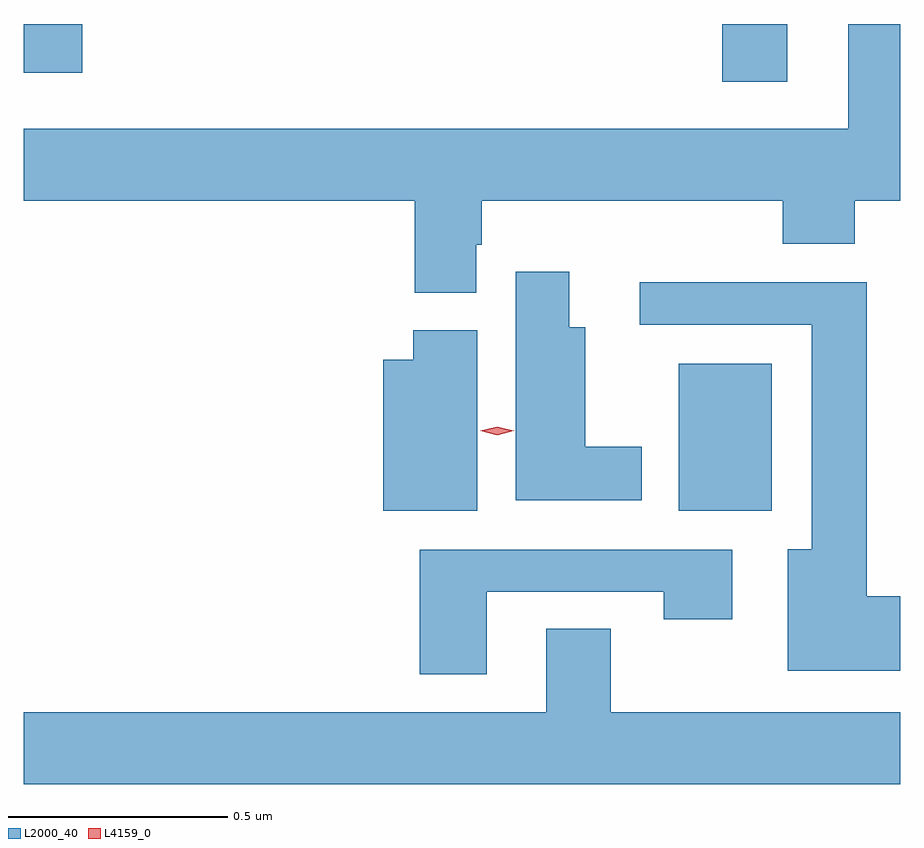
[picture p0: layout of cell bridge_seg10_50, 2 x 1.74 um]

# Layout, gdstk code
import gdstk
lib = gdstk.Library(unit=1e-6, precision=1e-09)
def R(c, l, rs):  # rectangles x0, y0, x1, y1
    for r in rs: c.add(gdstk.rectangle(r[:2], r[2:], *l))
def P(c, l, *ps):  # polygons
    for p in ps: c.add(gdstk.Polygon(p, *l))
L2000_40 = (2000, 40)
L4159_0 = (4159, 0)

bridge_seg10_50 = lib.new_cell('bridge_seg10_50')
R(bridge_seg10_50, L2000_40, [(870.806,1315.592,871.018,1315.927), (870.905,1316.571,871.054,1316.703), (869.311,1316.592,869.444,1316.703)])
P(bridge_seg10_50, L2000_40, [(870.343,1316.199),(870.356,1316.199),(870.356,1316.3),(871.043,1316.3),(871.043,1316.201),(871.208,1316.201),(871.208,1316.3),(871.311,1316.3),(871.311,1316.703),(871.193,1316.703),(871.193,1316.464),(869.311,1316.464),(869.311,1316.3),(870.203,1316.3),(870.203,1316.089),(870.343,1316.089)],
  [(870.721,1315.738),(870.592,1315.738),(870.592,1316.011),(870.556,1316.011),(870.556,1316.137),(870.434,1316.137),(870.434,1315.616),(870.721,1315.616)],
  [(871.311,1315.397),(871.235,1315.397),(871.235,1316.114),(870.717,1316.114),(870.717,1316.016),(871.109,1316.016),(871.109,1315.504),(871.055,1315.504),(871.055,1315.226),(871.311,1315.226)],
  [(870.346,1316.004),(870.2,1316.004),(870.2,1315.936),(870.131,1315.936),(870.131,1315.592),(870.346,1315.592)],
  [(870.367,1315.407),(870.772,1315.407),(870.772,1315.344),(870.928,1315.344),(870.928,1315.503),(870.215,1315.503),(870.215,1315.218),(870.367,1315.218)],
  [(871.311,1315.132),(870.651,1315.132),(870.651,1315.322),(870.503,1315.322),(870.503,1315.132),(869.311,1315.132),(869.311,1314.968),(871.311,1314.968)])
P(bridge_seg10_50, L4159_0, [(870.391,1315.764),(870.353,1315.774),(870.353,1315.774),(870.353,1315.774),(870.391,1315.784),(870.429,1315.774),(870.43,1315.774),(870.429,1315.774)])

lib.write_gds('bridge_seg10_50.gds')
